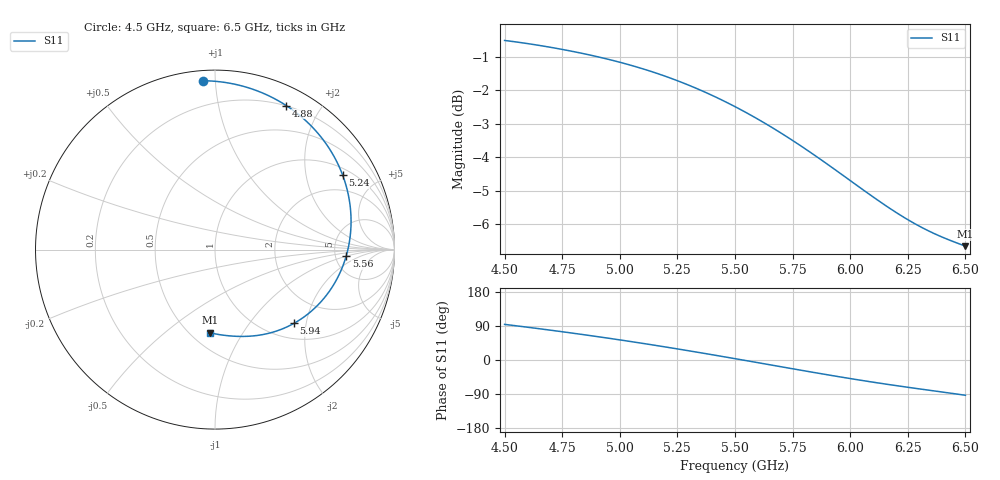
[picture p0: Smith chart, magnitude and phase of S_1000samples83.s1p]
! TOUCHSTONE file generated by CST MICROWAVE STUDIO
! Date and time: Wed Oct 26 22:40:04 2022
! Project name: L.cst
! Parameters = {Di=1.27; Epsilon_r=1.56; InnerDiameter=1.27; Length=2; Lf=10; Lg=60; OuterConductorThickness=0.2921; OuterDiameter=3.6; Wf=3; Wp=41.2; de=1.5; df=6.8; g=0.8; gx=2.23947; gy=4.6413; h=2.34; hf=1.524; px=11.6334; py=11.8095; w=9.7; wx=9.3939; wy=7.16824}
! Header version: 2018
! Port assignment regex: !\s*Touchstone port\s*([0-9]+)\s*=\s*(CST MWS port|CST DS port)\s*([0-9]+|Zmin|Zmax)\s*\(\"(.*)\"\)(\s*mode\s*([0-9]+))?.*
! Touchstone port assignment:
! Touchstone port 1 = CST MWS port 1 ("")
# GHz S DB R 50
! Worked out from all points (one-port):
!   101 points, 4.5 GHz to 6.5 GHz, reference 50 ohm
!   lowest |S11| = -6.7 dB at 6.5 GHz (marker M1), VSWR 2.73, Z = 31 - j36.6 ohm
!   |S11| at or under -10 dB: nowhere
!   S11 on the Smith chart (normalised r, x): 4.5 GHz: 0.05, +0.93; 4.88 GHz: 0.20, +1.59; 5.24 GHz: 1.26, +3.25; 5.56 GHz: 6.30, -0.98; 5.94 GHz: 1.32, -1.71; 6.5 GHz: 0.62, -0.73
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4.5  -0.51 94.0
4.58  -0.58 88.0
4.64  -0.65 83.3
4.7  -0.72 78.6
4.76  -0.79 73.7
4.82  -0.87 68.8
4.88  -0.96 63.7
4.94  -1.06 58.4
5  -1.16 53.0
5.12  -1.40 41.9
5.18  -1.54 36.1
5.24  -1.69 30.2
5.26  -1.74 28.3
5.32  -1.91 22.2
5.38  -2.09 16.1
5.44  -2.28 9.8
5.5  -2.49 3.5
5.56  -2.71 -2.8
5.66  -3.11 -13.5
5.76  -3.55 -24.2
5.86  -4.01 -34.7
5.94  -4.40 -42.9
6  -4.70 -49.0
6.06  -5.00 -54.8
6.12  -5.29 -60.4
6.26  -5.91 -72.8
6.38  -6.34 -82.9
6.5  -6.67 -93.1
